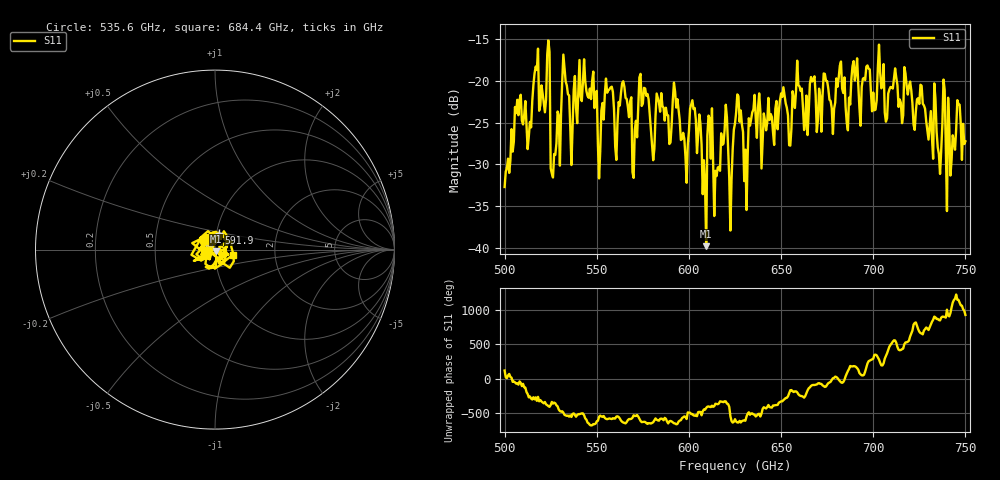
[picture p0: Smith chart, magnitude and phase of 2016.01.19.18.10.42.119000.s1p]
!Created with skrf (http://scikit-rf.org).
# GHz S RI R 50.0
!freq ReS11 ImS11
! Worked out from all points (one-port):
!   401 points, 500 GHz to 750 GHz, reference 50 ohm
!   lowest |S11| = -39.8 dB at 609.4 GHz (marker M1), VSWR 1.02, Z = 50.5 - j0.916 ohm
!   |S11| at or under -10 dB: start of sweep to end of sweep
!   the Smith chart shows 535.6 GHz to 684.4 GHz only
!   S11 on the Smith chart (normalised r, x): 535.6 GHz: 0.90, -0.02; 591.9 GHz: 1.03, +0.20; 684.4 GHz: 1.22, -0.07
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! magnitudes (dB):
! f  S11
! 500 GHz  -32.7
! 507.5 GHz  -24.1
! 513.1 GHz  -26.6
! 516.9 GHz  -18.3
! 523.1 GHz  -16.9
! 526.2 GHz  -31.6
! 531.2 GHz  -20.1
! 535.6 GHz  -25.6
! 541.9 GHz  -22.4
! 551.9 GHz  -28.5
! 562.5 GHz  -23.0
! 570.6 GHz  -25.9
! 574.4 GHz  -23.0
! 580 GHz  -27.6
! 591.9 GHz  -20.2
! 593.8 GHz  -22.2
! 609.4 GHz  -39.8
! 619.4 GHz  -25.9
! 622.5 GHz  -37.9
! 625 GHz  -25.1
! 630.6 GHz  -28.2
! 635 GHz  -23.4
! 656.2 GHz  -21.2
! 684.4 GHz  -19.6
! 687.5 GHz  -22.8
! 718.8 GHz  -21.6
! 735.6 GHz  -28.8
! 750 GHz  -27.2
